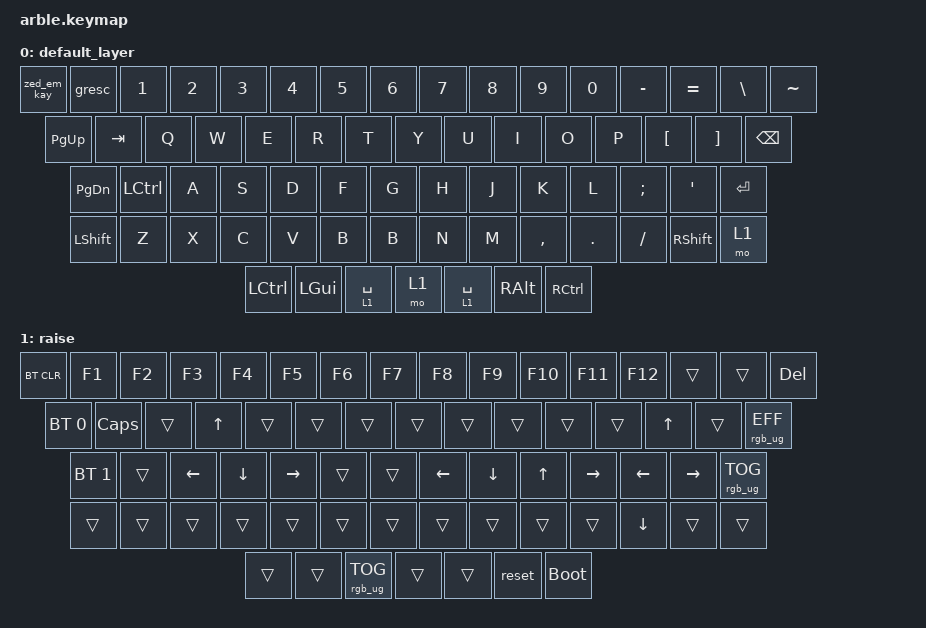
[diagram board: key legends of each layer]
/*
 * Copyright (c) 2021 Nick Winans
 *
 * SPDX-License-Identifier: MIT
 */

#include <behaviors.dtsi>
#include <dt-bindings/zmk/keys.h>
#include <dt-bindings/zmk/rgb.h>
#include <dt-bindings/zmk/bt.h>
#include <dt-bindings/zmk/outputs.h>
#include <dt-bindings/zmk/ext_power.h>

/ {
    macros {
        zed_em_kay: zed_em_kay {
            label = "ZM_zed_em_kay";
            compatible = "zmk,behavior-macro";
            #binding-cells = <0>;
            bindings
                = <&macro_press &kp LGUI &kp LSHFT>
                , <&macro_tap &kp S>
                , <&macro_release &kp LGUI &kp LSHFT>
                ;
        };
    };
};

/ {
  keymap {
    compatible = "zmk,keymap";
    
    default_layer {
        // ----------------------------------------------------------------------------------------------------------
        // | F1  | ESC |  1  |  2  |  3  |  4  |  5  |  6  |  7  |  8  |  9  |  0  |  -  |  =  |  BSLH  |  TILDE  |
        // | F2  | TAB  |  Q  |  W  |  E  |  R  |  T  |  Y  |  U  |  I  |  O  |  P  |  [  |  ]  |   "  |   BSPC   | 
        // | F3  | CAPS   |  A  |  S  |  D  |  F  |  G  |  H  |  J  |  K  |  L  |  ;  |  '  |        ENTER        |
        // |     |  SHIFT  |  Z  |  X  |  C  |  V  |  B  |  B  |  N  |  M  |  ,  |  .  |  /  |   SHIFT   |  MO(1) |
        // |     |  CTL  |       |  WIN  |  SPACE  |  MO(1)  |        |  SPACE  |  ALT  |               |   CTL   |
        // ----------------------------------------------------------------------------------------------------------
      bindings = <
        &zed_em_kay  &gresc  &kp N1  &kp N2  &kp N3  &kp N4  &kp N5  &kp N6  &kp N7  &kp N8  &kp N9  &kp N0  &kp MINUS  &kp EQUAL  &kp BSLH  &kp TILDE
        &kp PG_UP    &kp TAB  &kp Q  &kp W  &kp E  &kp R  &kp T  &kp Y  &kp U  &kp I  &kp O  &kp P  &kp LBKT  &kp RBKT  &kp BSPC
        &kp PG_DN       &kp LCTRL  &kp A  &kp S  &kp D  &kp F  &kp G  &kp H  &kp J  &kp K  &kp L  &kp SEMI  &kp SQT  &kp RET
                     &kp LSHFT  &kp Z  &kp X  &kp C  &kp V  &kp B  &kp B  &kp N  &kp M  &kp COMMA  &kp DOT  &kp FSLH  &kp RSHFT  &mo 1
                     &kp LCTRL  &kp LGUI  &lt 1 SPACE  &mo 1  &lt 1 SPACE  &kp RALT  &kp RCTRL
      >;
    };

    raise {
        // --------------------------------------------------------------------------------------------------------------
        // | BT CLR|     |     |     |     |     |     |     |     |     |     |     |     |     |     |
        // | BT 1  |     |     |     |     |     |     |     |     |     |     |     |     |     |     |
        // | BT 2  |     |     |     |     |     |     |     |     |     |     |     |     |     |
        // |       |     |     |     |     |     |     |     |     |     |     |     |     |     |
        // |       |     |     |                            RGB TOG                        |     |     |     |     |
        // ---------------------------------------------------------------------------------------------------------------
      bindings = <
        &bt BT_CLR    &kp F1   &kp F2   &kp F3   &kp F4    &kp F5   &kp F6    &kp F7   &kp F8    &kp F9   &kp F10   &kp F11  &kp F12   &trans   &trans  &kp DEL
        &bt BT_SEL 0  &kp CLCK   &trans    &kp UP   &trans    &trans   &trans    &trans   &trans    &trans   &trans    &trans   &kp UP   &trans   &rgb_ug RGB_EFF
        &bt BT_SEL 1  &trans   &kp LEFT  &kp DOWN &kp RIGHT &trans    &trans   &kp LEFT  &kp DOWN &kp UP   &kp RIGHT   &kp LEFT   &kp RIGHT    &rgb_ug RGB_TOG 
                      &trans   &trans    &trans   &trans    &trans   &trans    &trans   &trans    &trans   &trans    &trans    &kp DOWN  &trans   &trans
                      &trans   &trans    &rgb_ug RGB_TOG    &trans   &trans    &reset    &bootloader
      >;
    };
  };
};
